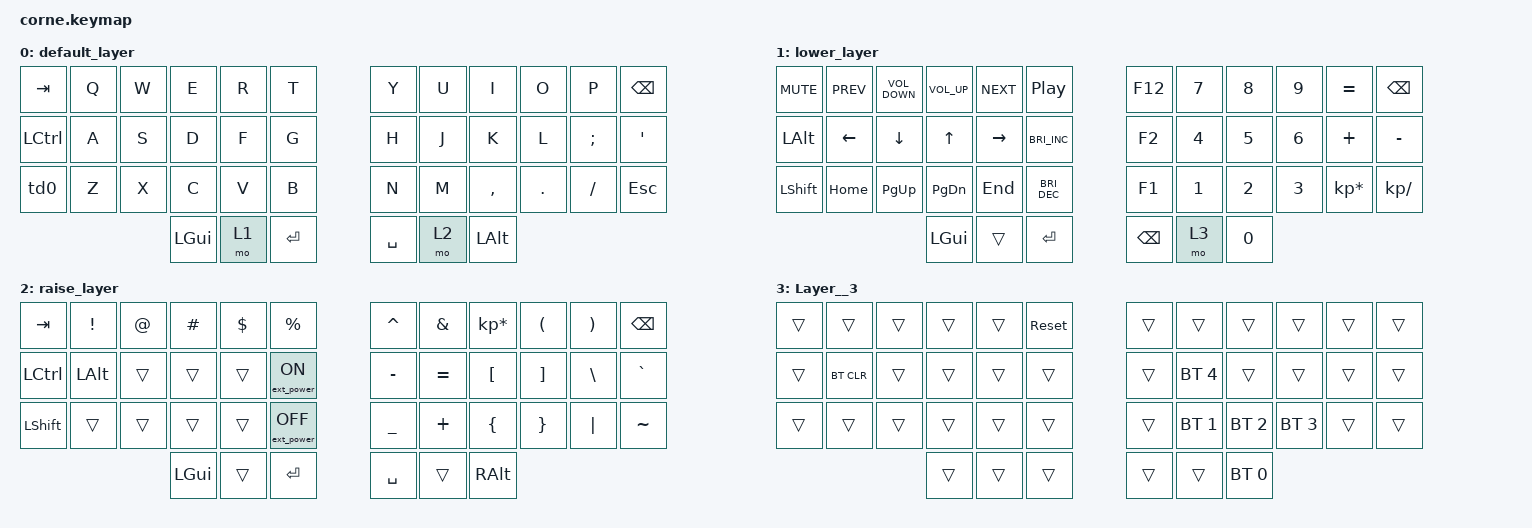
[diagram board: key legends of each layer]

/*
 * Copyright (c) 2020 The ZMK Contributors
 *
 * SPDX-License-Identifier: MIT
 */

#include <behaviors.dtsi>
#include <dt-bindings/zmk/bt.h>
#include <dt-bindings/zmk/ext_power.h>
#include <dt-bindings/zmk/keys.h>

/ {
    behaviors {
        td0: tap_dance_0 {
            compatible = "zmk,behavior-tap-dance";
            label = "TD_LSHIFT_TO_CAPS";
            #binding-cells = <0>;
            tapping-term-ms = <200>;
            bindings = <&kp LEFT_SHIFT>, <&kp CAPSLOCK>;
        };
    };

    combos {
        compatible = "zmk,combos";

        jk_esc {
            bindings = <&kp ESC>;
            key-positions = <19 20>;
            layers = <0>;
        };
    };

    keymap {
        compatible = "zmk,keymap";

        default_layer {
            // -----------------------------------------------------------------------------------------
            // |  TAB |  Q  |  W  |  E  |  R  |  T  |   |  Y  |  U   |  I  |  O  |  P  | BKSP |
            // | CTRL |  A  |  S  |  D  |  F  |  G  |   |  H  |  J   |  K  |  L  |  ;  |  '   |
            // | SHFT |  Z  |  X  |  C  |  V  |  B  |   |  N  |  M   |  ,  |  .  |  /  | ESC  |
            //                    | GUI | LWR | ENT |   | SPC | RSE  | ALT |

            bindings = <
&kp TAB           &kp Q  &kp W  &kp E     &kp R  &kp T      &kp Y      &kp U  &kp I         &kp O    &kp P     &kp BSPC
&kp LEFT_CONTROL  &kp A  &kp S  &kp D     &kp F  &kp G      &kp H      &kp J  &kp K         &kp L    &kp SEMI  &kp SQT
&td0              &kp Z  &kp X  &kp C     &kp V  &kp B      &kp N      &kp M  &kp COMMA     &kp DOT  &kp FSLH  &kp ESC
                                &kp LGUI  &mo 1  &kp RET    &kp SPACE  &mo 2  &kp LEFT_ALT
            >;
        };

        lower_layer {
            // -----------------------------------------------------------------------------------------
            // |  TAB |  1  |  2  |  3  |  4  |  5  |   |  6  |  7  |  8  |  9  |  0  | BKSP |
            // | BTCLR| BT1 | BT2 | BT3 | BT4 | BT5 |   | LFT | DWN |  UP | RGT |     |      |
            // | SHFT |     |     |     |     |     |   |     |     |     |     |     |      |
            //                    | GUI |     | SPC |   | ENT |     | ALT |

            bindings = <
&kp C_MUTE    &kp C_PREV  &kp C_VOLUME_DOWN  &kp C_VOLUME_UP  &kp C_NEXT  &kp C_PLAY_PAUSE        &kp F12        &kp N7  &kp N8  &kp N9  &kp EQUAL        &kp BSPC
&kp LEFT_ALT  &kp LEFT    &kp DOWN           &kp UP           &kp RIGHT   &kp C_BRIGHTNESS_INC    &kp F2         &kp N4  &kp N5  &kp N6  &kp PLUS         &kp MINUS
&kp LSHFT     &kp HOME    &kp PG_UP          &kp PG_DN        &kp END     &kp C_BRIGHTNESS_DEC    &kp F1         &kp N1  &kp N2  &kp N3  &kp KP_MULTIPLY  &kp KP_DIVIDE
                                             &kp LGUI         &trans      &kp ENTER               &kp BACKSPACE  &mo 3   &kp N0
            >;
        };

        raise_layer {
            // -----------------------------------------------------------------------------------------
            // |  TAB |  !  |  @  |  #  |  $  |  %  |   |  ^  |  &  |  *  |  (  |  )  | BKSP |
            // | CTRL |     |     |     |     |     |   |  -  |  =  |  [  |  ]  |  \  |  `   |
            // | SHFT |     |     |     |     |     |   |  _  |  +  |  {  |  }  | "|" |  ~   |
            //                    | GUI |     | SPC |   | ENT |     | ALT |

            bindings = <
&kp TAB    &kp EXCL      &kp AT  &kp HASH  &kp DLLR  &kp PRCNT            &kp CARET  &kp AMPS   &kp KP_MULTIPLY  &kp LPAR  &kp RPAR  &kp BSPC
&kp LCTRL  &kp LEFT_ALT  &trans  &trans    &trans    &ext_power EP_ON     &kp MINUS  &kp EQUAL  &kp LBKT         &kp RBKT  &kp BSLH  &kp GRAVE
&kp LSHFT  &trans        &trans  &trans    &trans    &ext_power EP_OFF    &kp UNDER  &kp PLUS   &kp LBRC         &kp RBRC  &kp PIPE  &kp TILDE
                                 &kp LGUI  &trans    &kp ENTER            &kp SPACE  &trans     &kp RALT
            >;
        };

        Layer__3 {
            bindings = <
&trans  &trans      &trans  &trans  &trans  &sys_reset    &trans  &trans        &trans        &trans        &trans  &trans
&trans  &bt BT_CLR  &trans  &trans  &trans  &trans        &trans  &bt BT_SEL 4  &trans        &trans        &trans  &trans
&trans  &trans      &trans  &trans  &trans  &trans        &trans  &bt BT_SEL 1  &bt BT_SEL 2  &bt BT_SEL 3  &trans  &trans
                            &trans  &trans  &trans        &trans  &trans        &bt BT_SEL 0
            >;
        };

        extra1 {
            status = "reserved";
        };

        extra2 {
            status = "reserved";
        };
    };
};
